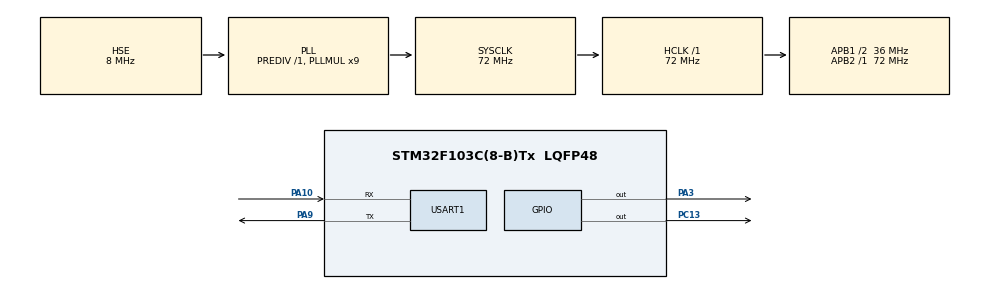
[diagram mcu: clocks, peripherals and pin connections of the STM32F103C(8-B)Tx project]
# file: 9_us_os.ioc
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Mcu.Family=STM32F1
Mcu.Name=STM32F103C(8-B)Tx
Mcu.Package=LQFP48
NVIC.PriorityGroup=NVIC_PRIORITYGROUP_4
PA10.Mode=Asynchronous
PA10.Signal=USART1_RX
PA13.Mode=Serial_Wire
PA13.Signal=SYS_JTMS-SWDIO
PA14.Mode=Serial_Wire
PA14.Signal=SYS_JTCK-SWCLK
PA3.Signal=GPIO_Output
PA9.Mode=Asynchronous
PA9.Signal=USART1_TX
PC13-TAMPER-RTC.Signal=GPIO_Output
PC14-OSC32_IN.Mode=LSE-External-Oscillator
PC14-OSC32_IN.Signal=RCC_OSC32_IN
PC15-OSC32_OUT.Mode=LSE-External-Oscillator
PC15-OSC32_OUT.Signal=RCC_OSC32_OUT
PD0-OSC_IN.Mode=HSE-External-Oscillator
PD0-OSC_IN.Signal=RCC_OSC_IN
PD1-OSC_OUT.Mode=HSE-External-Oscillator
PD1-OSC_OUT.Signal=RCC_OSC_OUT
ProjectManager.HeapSize=0x200
ProjectManager.StackSize=0x400
ProjectManager.TargetToolchain=MDK-ARM V5.32
RCC.AHBFreq_Value=72000000
RCC.APB1CLKDivider=RCC_HCLK_DIV2
RCC.APB1Freq_Value=36000000
RCC.APB1TimFreq_Value=72000000
RCC.APB2Freq_Value=72000000
RCC.APB2TimFreq_Value=72000000
RCC.HCLKFreq_Value=72000000
RCC.PLLMUL=RCC_PLL_MUL9
RCC.PLLSourceVirtual=RCC_PLLSOURCE_HSE
RCC.SYSCLKFreq_VALUE=72000000
RCC.SYSCLKSource=RCC_SYSCLKSOURCE_PLLCLK
RCC.USBFreq_Value=72000000
USART1.VirtualMode=VM_ASYNC
board=custom

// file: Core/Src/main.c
/* USER CODE BEGIN Header */
/**
  ******************************************************************************
  * @file           : main.c
  * @brief          : Main program body
  ******************************************************************************
  * @attention
  *
  * Copyright (c) 2024 STMicroelectronics.
  * All rights reserved.
  *
  * This software is licensed under terms that can be found in the LICENSE file
  * in the root directory of this software component.
  * If no LICENSE file comes with this software, it is provided AS-IS.
  *
  ******************************************************************************
  */

/* USER CODE END Header */
#include "main.h"
#include "gpio.h"
#include "usart.h"
/* USER CODE BEGIN Includes */
#include <includes.h>
#include "stm32f1xx_hal.h"
/* USER CODE END Includes */

/* USER CODE BEGIN PD */
/* 任务优先级 */
#define START_TASK_PRIO		3
#define LED0_TASK_PRIO		4
#define MSG_TASK_PRIO		5
#define LED1_TASK_PRIO		6

/* 任务堆栈大小	*/
#define START_STK_SIZE 		96
#define LED0_STK_SIZE 		64
#define MSG_STK_SIZE 		64
#define LED1_STK_SIZE 		64

/* 任务栈 */
CPU_STK START_TASK_STK[START_STK_SIZE];
CPU_STK LED0_TASK_STK[LED0_STK_SIZE];
CPU_STK MSG_TASK_STK[MSG_STK_SIZE];
CPU_STK LED1_TASK_STK[LED1_STK_SIZE];

/* 任务控制块 */
OS_TCB StartTaskTCB;
OS_TCB Led0TaskTCB;
OS_TCB MsgTaskTCB;
OS_TCB Led1TaskTCB;

/* USER CODE END PD */

/* USER CODE BEGIN PV */

/* 任务函数定义 */
void start_task(void *p_arg);
static  void  AppTaskCreate(void);
static  void  AppObjCreate(void);
static  void  led_pc13(void *p_arg);
static  void  send_msg(void *p_arg);
static  void  led_pa3(void *p_arg);
/* USER CODE END PV */

void SystemClock_Config(void);

/* USER CODE BEGIN 0 */
/**
  * @brief System Clock Configuration
  * @retval None
  */
void SystemClock_Config(void)
{
  RCC_OscInitTypeDef RCC_OscInitStruct = {0};
  RCC_ClkInitTypeDef RCC_ClkInitStruct = {0};

  /**Initializes the CPU, AHB and APB busses clocks
  */
  RCC_OscInitStruct.OscillatorType = RCC_OSCILLATORTYPE_HSE;
  RCC_OscInitStruct.HSEState = RCC_HSE_ON;
  RCC_OscInitStruct.HSEPredivValue = RCC_HSE_PREDIV_DIV1;
  RCC_OscInitStruct.HSIState = RCC_HSI_ON;
  RCC_OscInitStruct.PLL.PLLState = RCC_PLL_ON;
  RCC_OscInitStruct.PLL.PLLSource = RCC_PLLSOURCE_HSE;
  RCC_OscInitStruct.PLL.PLLMUL = RCC_PLL_MUL9;
  if (HAL_RCC_OscConfig(&RCC_OscInitStruct) != HAL_OK)
  {
    Error_Handler();
  }
  /**Initializes the CPU, AHB and APB busses clocks
  */
  RCC_ClkInitStruct.ClockType = RCC_CLOCKTYPE_HCLK|RCC_CLOCKTYPE_SYSCLK
                              |RCC_CLOCKTYPE_PCLK1|RCC_CLOCKTYPE_PCLK2;
  RCC_ClkInitStruct.SYSCLKSource = RCC_SYSCLKSOURCE_PLLCLK;
  RCC_ClkInitStruct.AHBCLKDivider = RCC_SYSCLK_DIV1;
  RCC_ClkInitStruct.APB1CLKDivider = RCC_HCLK_DIV2;
  RCC_ClkInitStruct.APB2CLKDivider = RCC_HCLK_DIV1;

  if (HAL_RCC_ClockConfig(&RCC_ClkInitStruct, FLASH_LATENCY_2) != HAL_OK)
  {
    Error_Handler();
  }
}

/* USER CODE END 0 */

int main(void)
{
	OS_ERR  err;
	OSInit(&err);
  HAL_Init();
	SystemClock_Config();
	//MX_GPIO_Init(); 这个在BSP的初始化里也会初始化
  MX_USART1_UART_Init();
	/* 创建任务 */
	OSTaskCreate((OS_TCB     *)&StartTaskTCB,                /* Create the start task                                */
				 (CPU_CHAR   *)"start task",
				 (OS_TASK_PTR ) start_task,
				 (void       *) 0,
				 (OS_PRIO     ) START_TASK_PRIO,
				 (CPU_STK    *)&START_TASK_STK[0],
				 (CPU_STK_SIZE) START_STK_SIZE/10,
				 (CPU_STK_SIZE) START_STK_SIZE,
				 (OS_MSG_QTY  ) 0,
				 (OS_TICK     ) 0,
				 (void       *) 0,
				 (OS_OPT      )(OS_OPT_TASK_STK_CHK | OS_OPT_TASK_STK_CLR),
				 (OS_ERR     *)&err);
	/* 启动多任务系统，控制权交给uC/OS-III */
	OSStart(&err);            /* Start multitasking (i.e. give control to uC/OS-III). */

}

void start_task(void *p_arg)
{
	OS_ERR err;
	CPU_SR_ALLOC();
	p_arg = p_arg;

	/* YangJie add 2021.05.20*/
  BSP_Init();                                                   /* Initialize BSP functions */
  //CPU_Init();
  //Mem_Init();                                                 /* Initialize Memory Management Module */

#if OS_CFG_STAT_TASK_EN > 0u
   OSStatTaskCPUUsageInit(&err);  		//统计任务
#endif

#ifdef CPU_CFG_INT_DIS_MEAS_EN			//如果使能了测量中断关闭时间
    CPU_IntDisMeasMaxCurReset();
#endif

#if	OS_CFG_SCHED_ROUND_ROBIN_EN  		//当使用时间片轮转的时候
	 //使能时间片轮转调度功能,时间片长度为1个系统时钟节拍，既1*5=5ms
	OSSchedRoundRobinCfg(DEF_ENABLED,1,&err);
#endif

	OS_CRITICAL_ENTER();	//进入临界区
	/* 创建LED0任务 */
	OSTaskCreate((OS_TCB 	* )&Led0TaskTCB,
				 (CPU_CHAR	* )"led_pc13",
                 (OS_TASK_PTR )led_pc13,
                 (void		* )0,
                 (OS_PRIO	  )LED0_TASK_PRIO,
                 (CPU_STK   * )&LED0_TASK_STK[0],
                 (CPU_STK_SIZE)LED0_STK_SIZE/10,
                 (CPU_STK_SIZE)LED0_STK_SIZE,
                 (OS_MSG_QTY  )0,
                 (OS_TICK	  )0,
                 (void   	* )0,
                 (OS_OPT      )OS_OPT_TASK_STK_CHK|OS_OPT_TASK_STK_CLR,
                 (OS_ERR 	* )&err);

/* 创建LED1任务 */
	OSTaskCreate((OS_TCB 	* )&Led1TaskTCB,
				 (CPU_CHAR	* )"led_pa3",
                 (OS_TASK_PTR )led_pa3,
                 (void		* )0,
                 (OS_PRIO	  )LED1_TASK_PRIO,
                 (CPU_STK   * )&LED1_TASK_STK[0],
                 (CPU_STK_SIZE)LED1_STK_SIZE/10,
                 (CPU_STK_SIZE)LED1_STK_SIZE,
                 (OS_MSG_QTY  )0,
                 (OS_TICK	  )0,
                 (void   	* )0,
                 (OS_OPT      )OS_OPT_TASK_STK_CHK|OS_OPT_TASK_STK_CLR,
                 (OS_ERR 	* )&err);

	/* 创建MSG任务 */
	OSTaskCreate((OS_TCB 	* )&MsgTaskTCB,
				 (CPU_CHAR	* )"send_msg",
                 (OS_TASK_PTR )send_msg,
                 (void		* )0,
                 (OS_PRIO	  )MSG_TASK_PRIO,
                 (CPU_STK   * )&MSG_TASK_STK[0],
                 (CPU_STK_SIZE)MSG_STK_SIZE/10,
                 (CPU_STK_SIZE)MSG_STK_SIZE,
                 (OS_MSG_QTY  )0,
                 (OS_TICK	  )0,
                 (void   	* )0,
                 (OS_OPT      )OS_OPT_TASK_STK_CHK|OS_OPT_TASK_STK_CLR,
                 (OS_ERR 	* )&err);

	OS_TaskSuspend((OS_TCB*)&StartTaskTCB,&err);		//挂起开始任务
	OS_CRITICAL_EXIT();	//进入临界区
}
/**
  * 函数功能: 启动任务函数体。
  * 输入参数: p_arg 是在创建该任务时传递的形参
  * 返 回 值: 无
  * 说    明：无
  */
static  void  led_pc13 (void *p_arg)
{
  OS_ERR      err;

  (void)p_arg;

  BSP_Init();                                                 /* Initialize BSP functions                             */
  CPU_Init();

  Mem_Init();                                                 /* Initialize Memory Management Module                  */

#if OS_CFG_STAT_TASK_EN > 0u
  OSStatTaskCPUUsageInit(&err);                               /* Compute CPU capacity with no task running            */
#endif

  CPU_IntDisMeasMaxCurReset();

  AppTaskCreate();                                            /* Create Application Tasks                             */

  AppObjCreate();                                             /* Create Application Objects                           */

  while (DEF_TRUE)
  {
		HAL_GPIO_WritePin(GPIOC,GPIO_PIN_13,GPIO_PIN_RESET);
		OSTimeDlyHMSM(0, 0, 1, 0,OS_OPT_TIME_HMSM_STRICT,&err);
		HAL_GPIO_WritePin(GPIOC,GPIO_PIN_13,GPIO_PIN_SET);
		OSTimeDlyHMSM(0, 0, 1, 0,OS_OPT_TIME_HMSM_STRICT,&err);
    /* USER CODE END WHILE */

  }
}

static  void  led_pa3 (void *p_arg)
{
  OS_ERR      err;

  (void)p_arg;

  BSP_Init();                                                 /* Initialize BSP functions                             */
  CPU_Init();

  Mem_Init();                                                 /* Initialize Memory Management Module                  */

#if OS_CFG_STAT_TASK_EN > 0u
  OSStatTaskCPUUsageInit(&err);                               /* Compute CPU capacity with no task running            */
#endif

  CPU_IntDisMeasMaxCurReset();

  AppTaskCreate();                                            /* Create Application Tasks                             */

  AppObjCreate();                                             /* Create Application Objects                           */

  while (DEF_TRUE)
  {
		HAL_GPIO_WritePin(GPIOA,GPIO_PIN_3,GPIO_PIN_RESET);
		OSTimeDlyHMSM(0, 0, 3, 0,OS_OPT_TIME_HMSM_STRICT,&err);
		HAL_GPIO_WritePin(GPIOA,GPIO_PIN_3,GPIO_PIN_SET);
		OSTimeDlyHMSM(0, 0, 3, 0,OS_OPT_TIME_HMSM_STRICT,&err);
    /* USER CODE END WHILE */

  }
}

static  void  send_msg (void *p_arg)
{
  OS_ERR      err;

  (void)p_arg;

  BSP_Init();                                                 /* Initialize BSP functions                             */
  CPU_Init();

  Mem_Init();                                                 /* Initialize Memory Management Module                  */

#if OS_CFG_STAT_TASK_EN > 0u
  OSStatTaskCPUUsageInit(&err);                               /* Compute CPU capacity with no task running            */
#endif

  CPU_IntDisMeasMaxCurReset();

  AppTaskCreate();                                            /* Create Application Tasks                             */

  AppObjCreate();                                             /* Create Application Objects                           */

  while (DEF_TRUE)
  {
			printf("hello uc/OS! 欢迎来到RTOS多任务环境 \r\n");
		OSTimeDlyHMSM(0, 0, 2, 0,OS_OPT_TIME_HMSM_STRICT,&err);
    /* USER CODE END WHILE */

  }
}

/* USER CODE BEGIN 4 */
/**
  * 函数功能: 创建应用任务
  * 输入参数: p_arg 是在创建该任务时传递的形参
  * 返 回 值: 无
  * 说    明：无
  */
static  void  AppTaskCreate (void)
{

}

/**
  * 函数功能: uCOSIII内核对象创建
  * 输入参数: 无
  * 返 回 值: 无
  * 说    明：无
  */
static  void  AppObjCreate (void)
{

}

/* USER CODE END 4 */

void Error_Handler(void)
{
}

/************************ (C) COPYRIGHT STMicroelectronics *****END OF FILE****/
